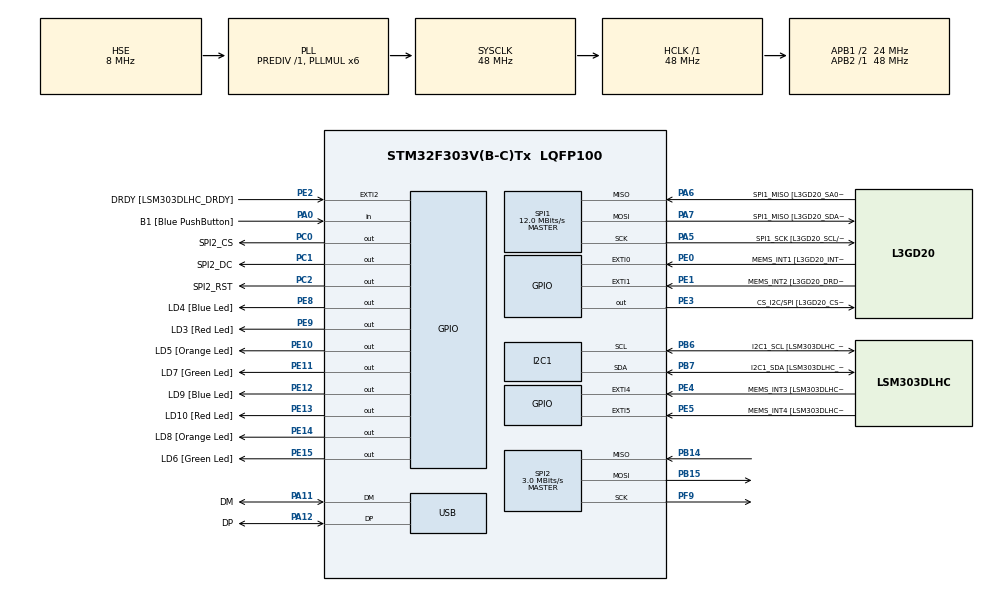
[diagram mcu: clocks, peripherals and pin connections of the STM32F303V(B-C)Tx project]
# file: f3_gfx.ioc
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FREERTOS.Tasks01=defaultTask,0,128,StartDefaultTask,Default,NULL
FREERTOS.configUSE_COUNTING_SEMAPHORES=1
I2C1.Timing=0x2000090E
I2C1.Timing-I2C=0x2000090E
Mcu.Family=STM32F3
Mcu.Name=STM32F303V(B-C)Tx
Mcu.Package=LQFP100
NVIC.PriorityGroup=NVIC_PRIORITYGROUP_4
PA0.GPIO_Label=B1 [Blue PushButton]
PA0.Signal=GPIO_Input
PA11.GPIO_Label=DM
PA11.Mode=Device
PA11.Signal=USB_DM
PA12.GPIO_Label=DP
PA12.Mode=Device
PA12.Signal=USB_DP
PA13.GPIO_Label=SWDIO
PA13.Mode=Serial_Wire
PA13.Signal=SYS_JTMS-SWDIO
PA14.GPIO_Label=SWCLK
PA14.Mode=Serial_Wire
PA14.Signal=SYS_JTCK-SWCLK
PA5.GPIO_Label=SPI1_SCK [L3GD20_SCL/SPC]
PA5.Mode=Full_Duplex_Master
PA5.Signal=SPI1_SCK
PA6.GPIO_Label=SPI1_MISO [L3GD20_SA0/SDO]
PA6.Mode=Full_Duplex_Master
PA6.Signal=SPI1_MISO
PA7.GPIO_Label=SPI1_MISO [L3GD20_SDA/SDI/SDO]
PA7.Mode=Full_Duplex_Master
PA7.Signal=SPI1_MOSI
PB14.Mode=Full_Duplex_Master
PB14.Signal=SPI2_MISO
PB15.Mode=Full_Duplex_Master
PB15.Signal=SPI2_MOSI
PB3.GPIO_Label=SWO
PB3.Signal=SYS_JTDO-TRACESWO
PB6.GPIO_Label=I2C1_SCL [LSM303DLHC_SCL]
PB6.Mode=I2C
PB6.Signal=I2C1_SCL
PB7.GPIO_Label=I2C1_SDA [LSM303DLHC_SDA]
PB7.Mode=I2C
PB7.Signal=I2C1_SDA
PC0.GPIO_Label=SPI2_CS
PC0.Signal=GPIO_Output
PC1.GPIO_Label=SPI2_DC
PC1.Signal=GPIO_Output
PC14-OSC32_IN.GPIO_Label=OSC32_IN
PC14-OSC32_IN.Mode=LSE-External-Oscillator
PC14-OSC32_IN.Signal=RCC_OSC32_IN
PC15-OSC32_OUT.GPIO_Label=OSC32_OUT
PC15-OSC32_OUT.Mode=LSE-External-Oscillator
PC15-OSC32_OUT.Signal=RCC_OSC32_OUT
PC2.GPIO_Label=SPI2_RST
PC2.Signal=GPIO_Output
PE0.GPIO_Label=MEMS_INT1 [L3GD20_INT1]
PE0.GPIO_ModeDefaultEXTI=GPIO_MODE_EVT_RISING
PE0.Signal=GPXTI0
PE1.GPIO_Label=MEMS_INT2 [L3GD20_DRDY/INT2]
PE1.GPIO_ModeDefaultEXTI=GPIO_MODE_EVT_RISING
PE1.Signal=GPXTI1
PE10.GPIO_Label=LD5 [Orange Led]
PE10.Signal=GPIO_Output
PE11.GPIO_Label=LD7 [Green Led]
PE11.Signal=GPIO_Output
PE12.GPIO_Label=LD9 [Blue Led]
PE12.Signal=GPIO_Output
PE13.GPIO_Label=LD10 [Red Led]
PE13.Signal=GPIO_Output
PE14.GPIO_Label=LD8 [Orange Led]
PE14.Signal=GPIO_Output
PE15.GPIO_Label=LD6 [Green Led]
PE15.Signal=GPIO_Output
PE2.GPIO_Label=DRDY [LSM303DLHC_DRDY]
PE2.GPIO_ModeDefaultEXTI=GPIO_MODE_EVT_RISING
PE2.Signal=GPXTI2
PE3.GPIO_Label=CS_I2C/SPI [L3GD20_CS_I2C/SPI]
PE3.Signal=GPIO_Output
PE4.GPIO_Label=MEMS_INT3 [LSM303DLHC_INT1]
PE4.GPIO_ModeDefaultEXTI=GPIO_MODE_EVT_RISING
PE4.Signal=GPXTI4
PE5.GPIO_Label=MEMS_INT4 [LSM303DLHC_INT2]
PE5.GPIO_ModeDefaultEXTI=GPIO_MODE_EVT_RISING
PE5.Signal=GPXTI5
PE8.GPIO_Label=LD4 [Blue Led]
PE8.Signal=GPIO_Output
PE9.GPIO_Label=LD3 [Red Led]
PE9.Signal=GPIO_Output
PF0-OSC_IN.GPIO_Label=OSC_IN
PF0-OSC_IN.Mode=HSE-External-Clock-Source
PF0-OSC_IN.Signal=RCC_OSC_IN
PF1-OSC_OUT.GPIO_Label=OSC_OUT
PF1-OSC_OUT.Signal=RCC_OSC_OUT
PF9.Mode=Full_Duplex_Master
PF9.Signal=SPI2_SCK
ProjectManager.HeapSize=0x200
ProjectManager.StackSize=0x400
ProjectManager.TargetToolchain=MDK-ARM V5
RCC.AHBFreq_Value=48000000
RCC.APB1CLKDivider=RCC_HCLK_DIV2
RCC.APB1Freq_Value=24000000
RCC.APB1TimFreq_Value=48000000
RCC.APB2Freq_Value=48000000
RCC.APB2TimFreq_Value=48000000
RCC.CortexFreq_Value=48000000
RCC.HCLKFreq_Value=48000000
RCC.HSE_VALUE=8000000
RCC.HSI_VALUE=8000000
RCC.PLLMUL=RCC_PLL_MUL6
RCC.SYSCLKFreq_VALUE=48000000
RCC.SYSCLKSourceVirtual=RCC_SYSCLKSOURCE_PLLCLK
RCC.USBFreq_Value=48000000
SPI1.BaudRatePrescaler=SPI_BAUDRATEPRESCALER_4
SPI1.BaudRatePrescaler-Full_Duplex_Master=SPI_BAUDRATEPRESCALER_2
SPI1.CalculateBaudRate=12.0 MBits/s
SPI1.CalculateBaudRate-Full_Duplex_Master=24.0 MBits/s
SPI1.Direction=SPI_DIRECTION_2LINES
SPI1.Mode=SPI_MODE_MASTER
SPI1.Mode-Full_Duplex_Master=SPI_MODE_MASTER
SPI1.VirtualType=VM_MASTER
SPI2.BaudRatePrescaler=SPI_BAUDRATEPRESCALER_8
SPI2.CLKPolarity=SPI_POLARITY_LOW
SPI2.CalculateBaudRate=3.0 MBits/s
SPI2.DataSize=SPI_DATASIZE_8BIT
SPI2.Direction=SPI_DIRECTION_2LINES
SPI2.Mode=SPI_MODE_MASTER
SPI2.NSSPMode=SPI_NSS_PULSE_DISABLE
SPI2.VirtualType=VM_MASTER
VP_FREERTOS_VS_ENABLE.Mode=Enabled
board=STM32F3DISCOVERY

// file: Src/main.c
/**
  ******************************************************************************
  * File Name          : main.c
  * Description        : Main program body
  ******************************************************************************
  * This notice applies to any and all portions of this file
  * that are not between comment pairs USER CODE BEGIN and
  * USER CODE END. Other portions of this file, whether
  * inserted by the user or by software development tools
  * are owned by their respective copyright owners.
  *
  * Copyright (c) 2017 STMicroelectronics International N.V.
  * All rights reserved.
  *
  * Redistribution and use in source and binary forms, with or without
  * modification, are permitted, provided that the following conditions are met:
  *
  * 1. Redistribution of source code must retain the above copyright notice,
  *    this list of conditions and the following disclaimer.
  * 2. Redistributions in binary form must reproduce the above copyright notice,
  *    this list of conditions and the following disclaimer in the documentation
  *    and/or other materials provided with the distribution.
  * 3. Neither the name of STMicroelectronics nor the names of other
  *    contributors to this software may be used to endorse or promote products
  *    derived from this software without specific written permission.
  * 4. This software, including modifications and/or derivative works of this
  *    software, must execute solely and exclusively on microcontroller or
  *    microprocessor devices manufactured by or for STMicroelectronics.
  * 5. Redistribution and use of this software other than as permitted under
  *    this license is void and will automatically terminate your rights under
  *    this license.
  *
  * THIS SOFTWARE IS PROVIDED BY STMICROELECTRONICS AND CONTRIBUTORS "AS IS"
  * AND ANY EXPRESS, IMPLIED OR STATUTORY WARRANTIES, INCLUDING, BUT NOT
  * LIMITED TO, THE IMPLIED WARRANTIES OF MERCHANTABILITY, FITNESS FOR A
  * PARTICULAR PURPOSE AND NON-INFRINGEMENT OF THIRD PARTY INTELLECTUAL PROPERTY
  * RIGHTS ARE DISCLAIMED TO THE FULLEST EXTENT PERMITTED BY LAW. IN NO EVENT
  * SHALL STMICROELECTRONICS OR CONTRIBUTORS BE LIABLE FOR ANY DIRECT, INDIRECT,
  * INCIDENTAL, SPECIAL, EXEMPLARY, OR CONSEQUENTIAL DAMAGES (INCLUDING, BUT NOT
  * LIMITED TO, PROCUREMENT OF SUBSTITUTE GOODS OR SERVICES; LOSS OF USE, DATA,
  * OR PROFITS; OR BUSINESS INTERRUPTION) HOWEVER CAUSED AND ON ANY THEORY OF
  * LIABILITY, WHETHER IN CONTRACT, STRICT LIABILITY, OR TORT (INCLUDING
  * NEGLIGENCE OR OTHERWISE) ARISING IN ANY WAY OUT OF THE USE OF THIS SOFTWARE,
  * EVEN IF ADVISED OF THE POSSIBILITY OF SUCH DAMAGE.
  *
  ******************************************************************************
  */

#include "main.h"
#include "stm32f3xx_hal.h"
#include "cmsis_os.h"

I2C_HandleTypeDef hi2c1;

SPI_HandleTypeDef hspi1;
SPI_HandleTypeDef hspi2;

PCD_HandleTypeDef hpcd_USB_FS;

osThreadId defaultTaskHandle;

/* USER CODE BEGIN PV */
/* Private variables ---------------------------------------------------------*/

/* USER CODE END PV */

void SystemClock_Config(void);
static void MX_GPIO_Init(void);
static void MX_I2C1_Init(void);
static void MX_SPI1_Init(void);
static void MX_USB_PCD_Init(void);
static void MX_SPI2_Init(void);
void StartDefaultTask(void const * argument);

/* USER CODE BEGIN PFP */
/* Private function prototypes -----------------------------------------------*/

/* USER CODE END PFP */

int main(void)
{

  /* MCU Configuration----------------------------------------------------------*/

  /* Reset of all peripherals, Initializes the Flash interface and the Systick. */
  HAL_Init();

  /* Configure the system clock */
  SystemClock_Config();

  /* Initialize all configured peripherals */
  MX_GPIO_Init();
  MX_I2C1_Init();
  MX_SPI1_Init();
  MX_USB_PCD_Init();
  MX_SPI2_Init();

  /* Create the thread(s) */
  /* definition and creation of defaultTask */
  osThreadDef(defaultTask, StartDefaultTask, osPriorityNormal, 0, 128);
  defaultTaskHandle = osThreadCreate(osThread(defaultTask), NULL);

  /* Start scheduler */
  osKernelStart();

  /* We should never get here as control is now taken by the scheduler */

  /* Infinite loop */
  while (1)
  {

  }

}

/** System Clock Configuration
*/
void SystemClock_Config(void)
{

  RCC_OscInitTypeDef RCC_OscInitStruct;
  RCC_ClkInitTypeDef RCC_ClkInitStruct;
  RCC_PeriphCLKInitTypeDef PeriphClkInit;

    /**Initializes the CPU, AHB and APB busses clocks
    */
  RCC_OscInitStruct.OscillatorType = RCC_OSCILLATORTYPE_HSI|RCC_OSCILLATORTYPE_HSE;
  RCC_OscInitStruct.HSEState = RCC_HSE_BYPASS;
  RCC_OscInitStruct.HSEPredivValue = RCC_HSE_PREDIV_DIV1;
  RCC_OscInitStruct.HSIState = RCC_HSI_ON;
  RCC_OscInitStruct.HSICalibrationValue = 16;
  RCC_OscInitStruct.PLL.PLLState = RCC_PLL_ON;
  RCC_OscInitStruct.PLL.PLLSource = RCC_PLLSOURCE_HSE;
  RCC_OscInitStruct.PLL.PLLMUL = RCC_PLL_MUL6;
  if (HAL_RCC_OscConfig(&RCC_OscInitStruct) != HAL_OK)
  {
    _Error_Handler(__FILE__, __LINE__);
  }

    /**Initializes the CPU, AHB and APB busses clocks
    */
  RCC_ClkInitStruct.ClockType = RCC_CLOCKTYPE_HCLK|RCC_CLOCKTYPE_SYSCLK
                              |RCC_CLOCKTYPE_PCLK1|RCC_CLOCKTYPE_PCLK2;
  RCC_ClkInitStruct.SYSCLKSource = RCC_SYSCLKSOURCE_PLLCLK;
  RCC_ClkInitStruct.AHBCLKDivider = RCC_SYSCLK_DIV1;
  RCC_ClkInitStruct.APB1CLKDivider = RCC_HCLK_DIV2;
  RCC_ClkInitStruct.APB2CLKDivider = RCC_HCLK_DIV1;

  if (HAL_RCC_ClockConfig(&RCC_ClkInitStruct, FLASH_LATENCY_1) != HAL_OK)
  {
    _Error_Handler(__FILE__, __LINE__);
  }

  PeriphClkInit.PeriphClockSelection = RCC_PERIPHCLK_USB|RCC_PERIPHCLK_I2C1;
  PeriphClkInit.I2c1ClockSelection = RCC_I2C1CLKSOURCE_HSI;
  PeriphClkInit.USBClockSelection = RCC_USBCLKSOURCE_PLL;
  if (HAL_RCCEx_PeriphCLKConfig(&PeriphClkInit) != HAL_OK)
  {
    _Error_Handler(__FILE__, __LINE__);
  }

    /**Configure the Systick interrupt time
    */
  HAL_SYSTICK_Config(HAL_RCC_GetHCLKFreq()/1000);

    /**Configure the Systick
    */
  HAL_SYSTICK_CLKSourceConfig(SYSTICK_CLKSOURCE_HCLK);

  /* SysTick_IRQn interrupt configuration */
  HAL_NVIC_SetPriority(SysTick_IRQn, 15, 0);
}

/* I2C1 init function */
static void MX_I2C1_Init(void)
{

  hi2c1.Instance = I2C1;
  hi2c1.Init.Timing = 0x2000090E;
  hi2c1.Init.OwnAddress1 = 0;
  hi2c1.Init.AddressingMode = I2C_ADDRESSINGMODE_7BIT;
  hi2c1.Init.DualAddressMode = I2C_DUALADDRESS_DISABLE;
  hi2c1.Init.OwnAddress2 = 0;
  hi2c1.Init.OwnAddress2Masks = I2C_OA2_NOMASK;
  hi2c1.Init.GeneralCallMode = I2C_GENERALCALL_DISABLE;
  hi2c1.Init.NoStretchMode = I2C_NOSTRETCH_DISABLE;
  if (HAL_I2C_Init(&hi2c1) != HAL_OK)
  {
    _Error_Handler(__FILE__, __LINE__);
  }

    /**Configure Analogue filter
    */
  if (HAL_I2CEx_ConfigAnalogFilter(&hi2c1, I2C_ANALOGFILTER_ENABLE) != HAL_OK)
  {
    _Error_Handler(__FILE__, __LINE__);
  }

    /**Configure Digital filter
    */
  if (HAL_I2CEx_ConfigDigitalFilter(&hi2c1, 0) != HAL_OK)
  {
    _Error_Handler(__FILE__, __LINE__);
  }

}

/* SPI1 init function */
static void MX_SPI1_Init(void)
{

  /* SPI1 parameter configuration*/
  hspi1.Instance = SPI1;
  hspi1.Init.Mode = SPI_MODE_MASTER;
  hspi1.Init.Direction = SPI_DIRECTION_2LINES;
  hspi1.Init.DataSize = SPI_DATASIZE_4BIT;
  hspi1.Init.CLKPolarity = SPI_POLARITY_LOW;
  hspi1.Init.CLKPhase = SPI_PHASE_1EDGE;
  hspi1.Init.NSS = SPI_NSS_SOFT;
  hspi1.Init.BaudRatePrescaler = SPI_BAUDRATEPRESCALER_4;
  hspi1.Init.FirstBit = SPI_FIRSTBIT_MSB;
  hspi1.Init.TIMode = SPI_TIMODE_DISABLE;
  hspi1.Init.CRCCalculation = SPI_CRCCALCULATION_DISABLE;
  hspi1.Init.CRCPolynomial = 7;
  hspi1.Init.CRCLength = SPI_CRC_LENGTH_DATASIZE;
  hspi1.Init.NSSPMode = SPI_NSS_PULSE_ENABLE;
  if (HAL_SPI_Init(&hspi1) != HAL_OK)
  {
    _Error_Handler(__FILE__, __LINE__);
  }

}

/* SPI2 init function */
static void MX_SPI2_Init(void)
{

  /* SPI2 parameter configuration*/
  hspi2.Instance = SPI2;
  hspi2.Init.Mode = SPI_MODE_MASTER;
  hspi2.Init.Direction = SPI_DIRECTION_2LINES;
  hspi2.Init.DataSize = SPI_DATASIZE_8BIT;
  hspi2.Init.CLKPolarity = SPI_POLARITY_LOW;
  hspi2.Init.CLKPhase = SPI_PHASE_1EDGE;
  hspi2.Init.NSS = SPI_NSS_SOFT;
  hspi2.Init.BaudRatePrescaler = SPI_BAUDRATEPRESCALER_8;
  hspi2.Init.FirstBit = SPI_FIRSTBIT_MSB;
  hspi2.Init.TIMode = SPI_TIMODE_DISABLE;
  hspi2.Init.CRCCalculation = SPI_CRCCALCULATION_DISABLE;
  hspi2.Init.CRCPolynomial = 7;
  hspi2.Init.CRCLength = SPI_CRC_LENGTH_DATASIZE;
  hspi2.Init.NSSPMode = SPI_NSS_PULSE_DISABLE;
  if (HAL_SPI_Init(&hspi2) != HAL_OK)
  {
    _Error_Handler(__FILE__, __LINE__);
  }

}

/* USB init function */
static void MX_USB_PCD_Init(void)
{

  hpcd_USB_FS.Instance = USB;
  hpcd_USB_FS.Init.dev_endpoints = 8;
  hpcd_USB_FS.Init.speed = PCD_SPEED_FULL;
  hpcd_USB_FS.Init.ep0_mps = DEP0CTL_MPS_64;
  hpcd_USB_FS.Init.phy_itface = PCD_PHY_EMBEDDED;
  hpcd_USB_FS.Init.low_power_enable = DISABLE;
  hpcd_USB_FS.Init.battery_charging_enable = DISABLE;
  if (HAL_PCD_Init(&hpcd_USB_FS) != HAL_OK)
  {
    _Error_Handler(__FILE__, __LINE__);
  }

}

/** Configure pins as
        * Analog
        * Input
        * Output
        * EVENT_OUT
        * EXTI
*/
static void MX_GPIO_Init(void)
{

  GPIO_InitTypeDef GPIO_InitStruct;

  /* GPIO Ports Clock Enable */
  __HAL_RCC_GPIOE_CLK_ENABLE();
  __HAL_RCC_GPIOC_CLK_ENABLE();
  __HAL_RCC_GPIOF_CLK_ENABLE();
  __HAL_RCC_GPIOA_CLK_ENABLE();
  __HAL_RCC_GPIOB_CLK_ENABLE();

  /*Configure GPIO pin Output Level */
  HAL_GPIO_WritePin(GPIOE, CS_I2C_SPI_Pin|LD4_Pin|LD3_Pin|LD5_Pin
                          |LD7_Pin|LD9_Pin|LD10_Pin|LD8_Pin
                          |LD6_Pin, GPIO_PIN_RESET);

  /*Configure GPIO pin Output Level */
  HAL_GPIO_WritePin(GPIOC, SPI2_CS_Pin|SPI2_DC_Pin|SPI2_RST_Pin, GPIO_PIN_RESET);

  /*Configure GPIO pins : DRDY_Pin MEMS_INT3_Pin MEMS_INT4_Pin MEMS_INT1_Pin
                           MEMS_INT2_Pin */
  GPIO_InitStruct.Pin = DRDY_Pin|MEMS_INT3_Pin|MEMS_INT4_Pin|MEMS_INT1_Pin
                          |MEMS_INT2_Pin;
  GPIO_InitStruct.Mode = GPIO_MODE_EVT_RISING;
  GPIO_InitStruct.Pull = GPIO_NOPULL;
  HAL_GPIO_Init(GPIOE, &GPIO_InitStruct);

  /*Configure GPIO pins : CS_I2C_SPI_Pin LD4_Pin LD3_Pin LD5_Pin
                           LD7_Pin LD9_Pin LD10_Pin LD8_Pin
                           LD6_Pin */
  GPIO_InitStruct.Pin = CS_I2C_SPI_Pin|LD4_Pin|LD3_Pin|LD5_Pin
                          |LD7_Pin|LD9_Pin|LD10_Pin|LD8_Pin
                          |LD6_Pin;
  GPIO_InitStruct.Mode = GPIO_MODE_OUTPUT_PP;
  GPIO_InitStruct.Pull = GPIO_NOPULL;
  GPIO_InitStruct.Speed = GPIO_SPEED_FREQ_LOW;
  HAL_GPIO_Init(GPIOE, &GPIO_InitStruct);

  /*Configure GPIO pins : SPI2_CS_Pin SPI2_DC_Pin SPI2_RST_Pin */
  GPIO_InitStruct.Pin = SPI2_CS_Pin|SPI2_DC_Pin|SPI2_RST_Pin;
  GPIO_InitStruct.Mode = GPIO_MODE_OUTPUT_PP;
  GPIO_InitStruct.Pull = GPIO_NOPULL;
  GPIO_InitStruct.Speed = GPIO_SPEED_FREQ_LOW;
  HAL_GPIO_Init(GPIOC, &GPIO_InitStruct);

  /*Configure GPIO pin : B1_Pin */
  GPIO_InitStruct.Pin = B1_Pin;
  GPIO_InitStruct.Mode = GPIO_MODE_INPUT;
  GPIO_InitStruct.Pull = GPIO_NOPULL;
  HAL_GPIO_Init(B1_GPIO_Port, &GPIO_InitStruct);

}

/* USER CODE BEGIN 4 */
// the following is an example of an integrated ugfx example. Because we're using FreeRTOS from stm32cube, os and hardware initialisation is already taken care of. We can just initialise ugfx within our main thread and run normal code.
#include "gfx.h"
#include <math.h>

void mandelbrot(float x1, float y1, float x2, float y2) {
	unsigned int i,j, width, height;
	uint16_t iter;
	color_t color;
	float fwidth, fheight;

	float sy = y2 - y1;
	float sx = x2 - x1;
	const int MAX = 512;

	width = (unsigned int)gdispGetWidth();
	height = (unsigned int)gdispGetHeight();
	fwidth = width;
	fheight = height;

	for(i = 0; i < width; i++) {
		for(j = 0; j < height; j++) {
			float cy = j * sy / fheight + y1;
			float cx = i * sx / fwidth + x1;
			float x=0.0f, y=0.0f, xx=0.0f, yy=0.0f;
			for(iter=0; iter <= MAX && xx+yy<4.0f; iter++) {
				xx = x*x;
				yy = y*y;
				y = 2.0f*x*y + cy;
				x = xx - yy + cx;
			}
			//color = ((iter << 8) | (iter&0xFF));
			color = RGB2COLOR(iter<<7, iter<<4, iter);
			gdispDrawPixel(i, j, color);
		}
	}
}
/* USER CODE END 4 */

/* StartDefaultTask function */
void StartDefaultTask(void const * argument)
{

  /* USER CODE BEGIN 5 */
	gfxInit();
	float cx = -0.086f, cy = 0.85f;
	float zoom = 1.0f;

	while(TRUE) {
		mandelbrot(-2.0f*zoom+cx, -1.5f*zoom+cy, 2.0f*zoom+cx, 1.5f*zoom+cy);

		zoom *= 0.7f;
		if(zoom <= 0.00001f)
			zoom = 1.0f;
	}

  /* USER CODE END 5 */
}

void _Error_Handler(char * file, int line)
{
  while(1)
  {
  }
}

/************************ (C) COPYRIGHT STMicroelectronics *****END OF FILE****/
